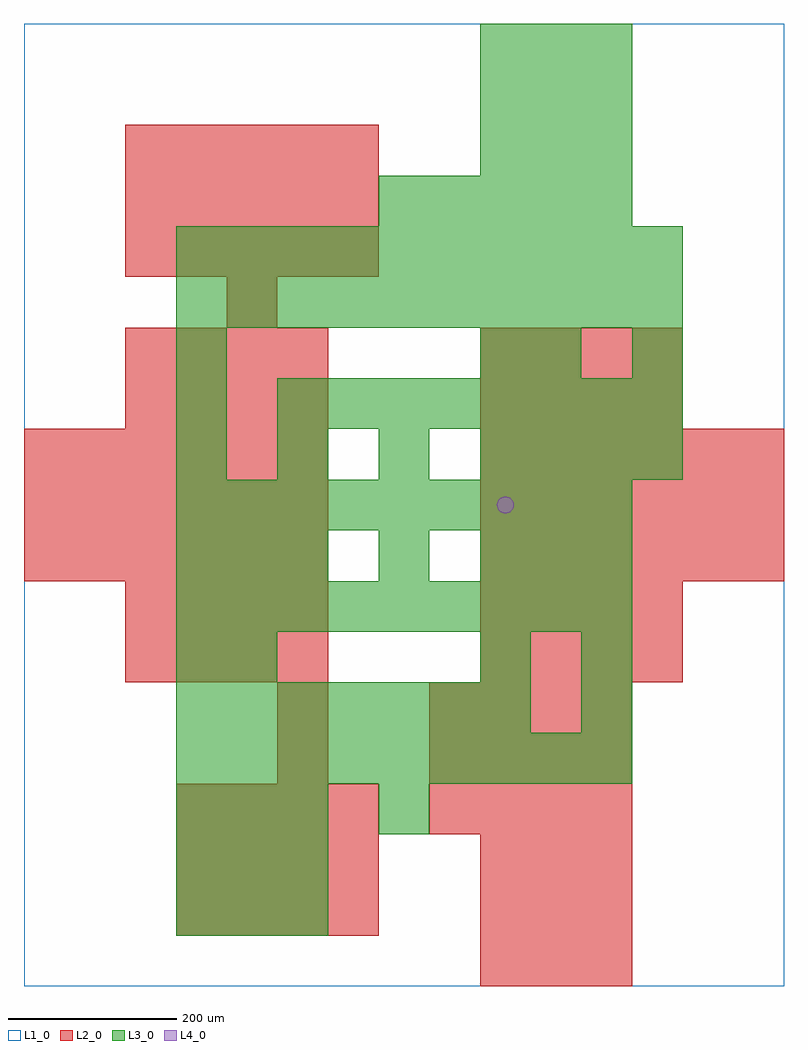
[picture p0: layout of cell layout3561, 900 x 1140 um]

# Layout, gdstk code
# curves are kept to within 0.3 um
import gdstk
lib = gdstk.Library(unit=1e-6, precision=1e-09)
def R(c, l, rs):  # rectangles x0, y0, x1, y1
    for r in rs: c.add(gdstk.rectangle(r[:2], r[2:], *l))
def A(c, l, x, y, w, h, nx, ny, dx, dy):  # array of equal rectangles
    R(c, l, [(x+i*dx, y+j*dy, x+i*dx+w, y+j*dy+h) for i in range(nx) for j in range(ny)])
def P(c, l, *ps):  # polygons
    for p in ps: c.add(gdstk.Polygon(p, *l))
L1_0 = (1, 0)
L2_0 = (2, 0)
L3_0 = (3, 0)
L4_0 = (4, 0)

layout3561 = lib.new_cell('layout3561')
R(layout3561, L1_0, [(0,0,900,1140)])
A(layout3561, L2_0, 540, 0, 60, 60, 3, 3, 60, 60)
A(layout3561, L2_0, 180, 60, 60, 60, 4, 3, 60, 60)
A(layout3561, L2_0, 480, 180, 60, 60, 4, 3, 60, 60)
A(layout3561, L2_0, 120, 360, 60, 60, 4, 2, 60, 60)
A(layout3561, L2_0, 540, 360, 60, 60, 4, 2, 60, 60)
A(layout3561, L2_0, 0, 480, 60, 60, 6, 3, 60, 60)
A(layout3561, L2_0, 540, 480, 60, 60, 6, 3, 60, 60)
A(layout3561, L2_0, 120, 660, 60, 60, 4, 2, 60, 60)
A(layout3561, L2_0, 540, 660, 60, 60, 4, 2, 60, 60)
A(layout3561, L2_0, 120, 840, 60, 60, 5, 3, 60, 60)
R(layout3561, L2_0, [(300,240,360,300), (300,300,360,360), (240,780,300,840)])
A(layout3561, L3_0, 180, 60, 60, 60, 3, 3, 60, 60)
A(layout3561, L3_0, 180, 240, 60, 60, 9, 2, 60, 180)
A(layout3561, L3_0, 180, 300, 60, 60, 7, 1, 60, 0)
A(layout3561, L3_0, 180, 480, 60, 60, 3, 1, 60, 0)
A(layout3561, L3_0, 540, 480, 60, 60, 3, 2, 60, 480)
A(layout3561, L3_0, 180, 540, 60, 60, 9, 1, 60, 0)
A(layout3561, L3_0, 180, 600, 60, 60, 4, 1, 120, 0)
A(layout3561, L3_0, 600, 600, 60, 60, 3, 1, 60, 0)
A(layout3561, L3_0, 300, 660, 60, 60, 8, 1, 60, 0)
A(layout3561, L3_0, 180, 780, 60, 60, 10, 2, 60, 60)
A(layout3561, L3_0, 420, 900, 60, 60, 5, 1, 60, 0)
A(layout3561, L3_0, 540, 1020, 60, 60, 3, 2, 60, 60)
R(layout3561, L3_0, [(420,180,480,240), (660,300,720,360), (180,360,240,420), (240,360,300,420), (540,360,600,420), (660,360,720,420), (420,480,480,540), (180,660,240,720), (180,720,240,780), (540,720,600,780), (600,720,660,780), (720,720,780,780)])
P(layout3561, L4_0, [(580,570),(579.239,573.827),(577.071,577.071),(573.827,579.239),(570,580),(566.173,579.239),(562.929,577.071),(560.761,573.827),(560,570),(560.761,566.173),(562.929,562.929),(566.173,560.761),(570,560),(573.827,560.761),(577.071,562.929),(579.239,566.173)])

lib.write_gds('layout3561.gds')
